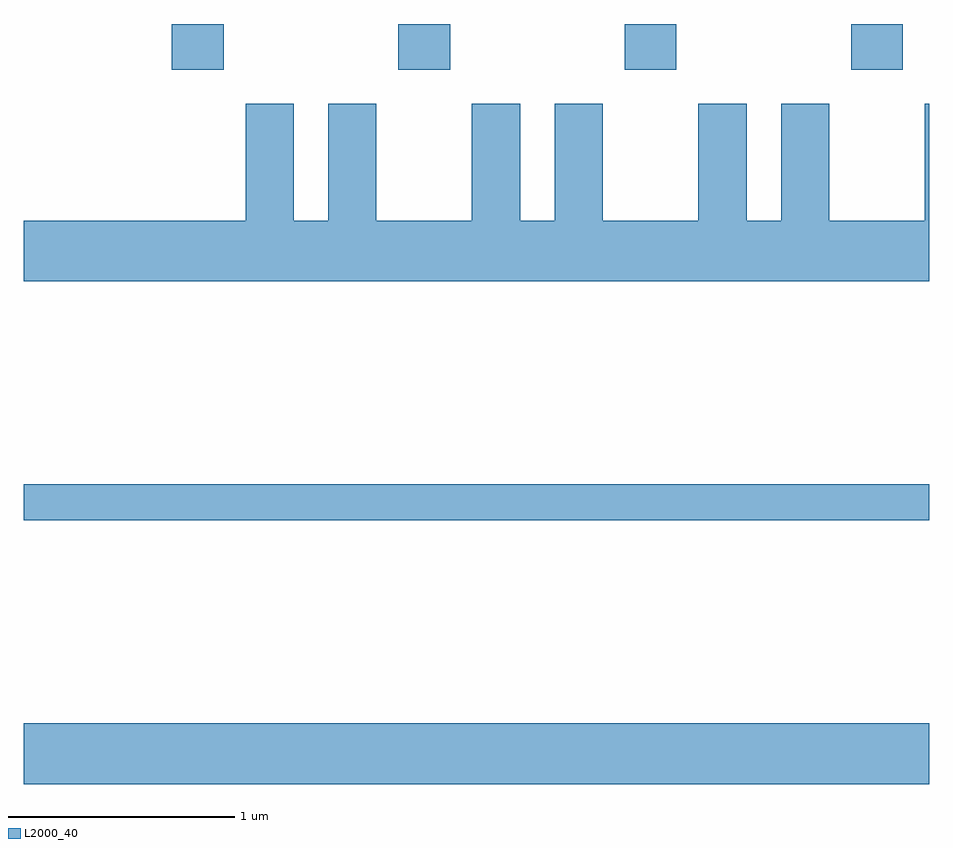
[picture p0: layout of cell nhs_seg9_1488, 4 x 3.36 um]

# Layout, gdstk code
import gdstk
lib = gdstk.Library(unit=1e-6, precision=1e-09)
def R(c, l, rs):  # rectangles x0, y0, x1, y1
    for r in rs: c.add(gdstk.rectangle(r[:2], r[2:], *l))
def A(c, l, x, y, w, h, nx, ny, dx, dy):  # array of equal rectangles
    R(c, l, [(x+i*dx, y+j*dy, x+i*dx+w, y+j*dy+h) for i in range(nx) for j in range(ny)])
def P(c, l, *ps):  # polygons
    for p in ps: c.add(gdstk.Polygon(p, *l))
L2000_40 = (2000, 40)

nhs_seg9_1488 = lib.new_cell('nhs_seg9_1488')
A(nhs_seg9_1488, L2000_40, 228.266, 2068.231, 0.228, 0.201, 4, 1, 1, 0)
R(nhs_seg9_1488, L2000_40, [(227.611,2065.076,231.611,2065.344), (227.611,2066.241,231.611,2066.399)])
P(nhs_seg9_1488, L2000_40, [(231.611,2068.079),(231.591,2068.079),(231.591,2067.564),(231.169,2067.564),(231.169,2068.079),(230.956,2068.079),(230.956,2067.564),(230.804,2067.564),(230.804,2068.079),(230.591,2068.079),(230.591,2067.564),(230.169,2067.564),(230.169,2068.079),(229.956,2068.079),(229.956,2067.564),(229.804,2067.564),(229.804,2068.079),(229.591,2068.079),(229.591,2067.564),(229.169,2067.564),(229.169,2068.079),(228.956,2068.079),(228.956,2067.564),(228.804,2067.564),(228.804,2068.079),(228.591,2068.079),(228.591,2067.564),(227.611,2067.564),(227.611,2067.296),(231.611,2067.296)])

lib.write_gds('nhs_seg9_1488.gds')
